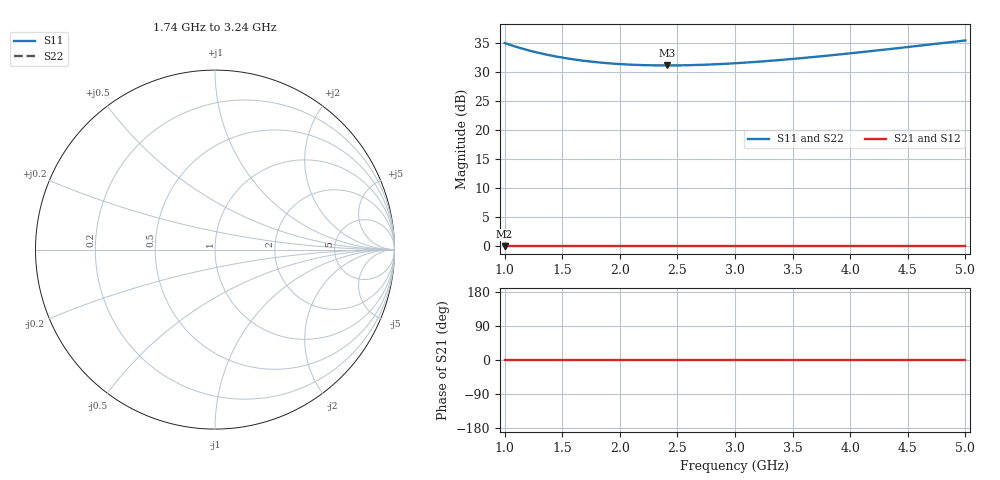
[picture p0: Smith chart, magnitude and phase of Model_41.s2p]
# GHZ S RI R 50
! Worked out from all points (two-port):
!   401 points, 1 GHz to 5 GHz, reference 50 ohm
!   highest |S21| = 0.00 dB at 1 GHz (marker M1); lowest = 0.0 dB at 1 GHz (marker M2)
!   |S21| within 3 dB of the highest: start of sweep to end of sweep
!   lowest |S11| = 31.1 dB at 2.41 GHz (marker M3)
!   |S11| at or under -10 dB: nowhere
!   |S22| runs from 31.1 to 35.4 dB; largest |S21 - S12| = 0
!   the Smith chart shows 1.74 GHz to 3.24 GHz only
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1  55.96 0  1 0  1 0  55.96 0
1.02  55.08 0  1 0  1 0  55.08 0
1.15  50.18 0  1 0  1 0  50.18 0
1.22  48.04 0  1 0  1 0  48.04 0
1.3  45.93 0  1 0  1 0  45.93 0
1.38  44.14 0  1 0  1 0  44.14 0
1.47  42.43 0  1 0  1 0  42.43 0
1.57  40.85 0  1 0  1 0  40.85 0
1.67  39.56 0  1 0  1 0  39.56 0
1.82  38.07 0  1 0  1 0  38.07 0
1.98  36.97 0  1 0  1 0  36.97 0
2.15  36.25 0  1 0  1 0  36.25 0
2.34  35.9 0  1 0  1 0  35.9 0
2.41  35.87 0  1 0  1 0  35.87 0
2.7  36.29 0  1 0  1 0  36.29 0
3  37.47 0  1 0  1 0  37.47 0
3.33  39.5 0  1 0  1 0  39.5 0
3.67  42.29 0  1 0  1 0  42.29 0
4  45.61 0  1 0  1 0  45.61 0
4.34  49.6 0  1 0  1 0  49.6 0
4.64  53.57 0  1 0  1 0  53.57 0
5  58.86 0  1 0  1 0  58.86 0
